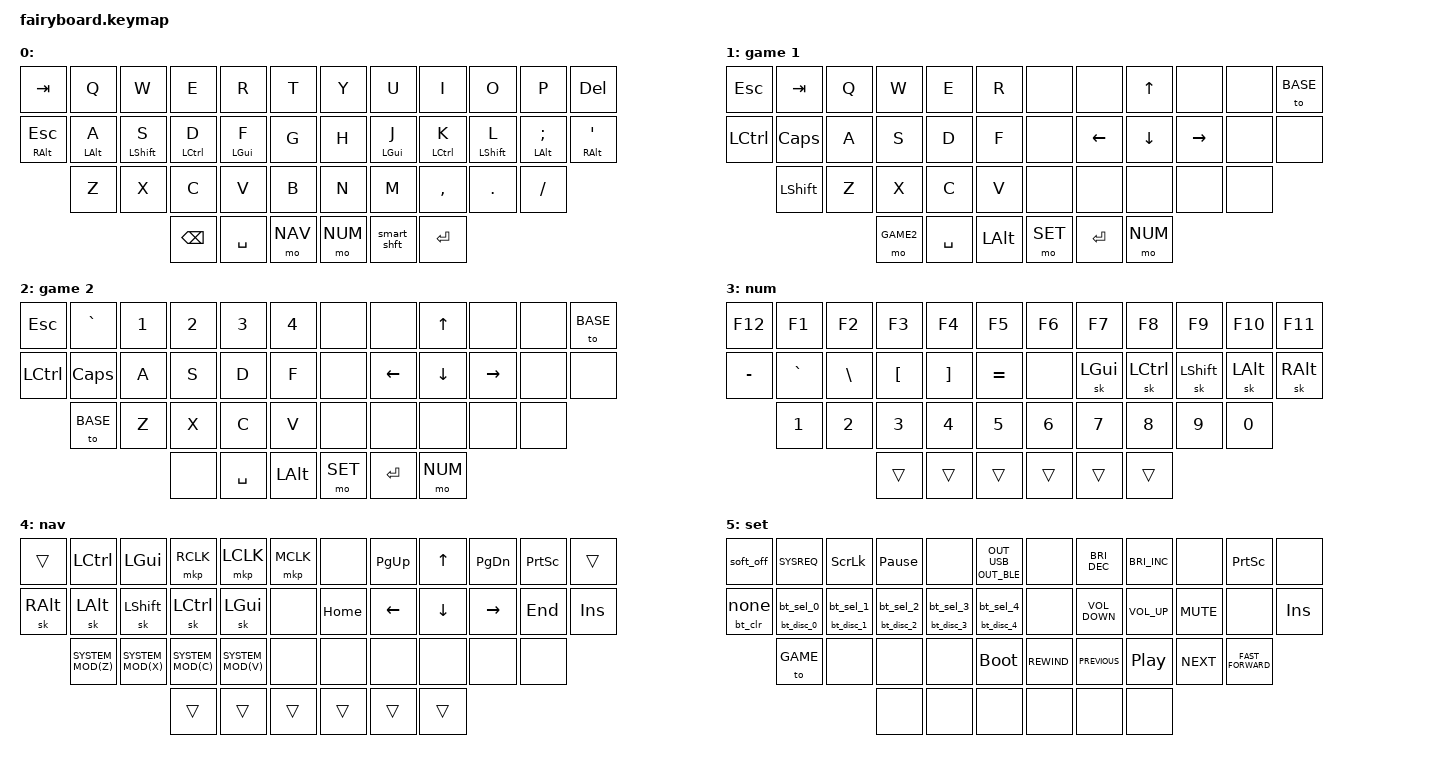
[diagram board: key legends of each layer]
// TODO: print screen, insert scroll lock and pause break move?
// TODO: zmk studio lock button
/*
 * Copyright (c) 2024 Steven Eisinger
 *
 * SPDX-License-Identifier: MIT
 */

// Required to be defined before the pointing dt-bindings import
#define ZMK_POINTING_DEFAULT_MOVE_VAL 1500
#define ZMK_POINTING_DEFAULT_SCRL_VAL 20

#include <behaviors/mouse_keys.dtsi>
#include <behaviors.dtsi>
#include <dt-bindings/zmk/bt.h>
#include <dt-bindings/zmk/keys.h>
#include <dt-bindings/zmk/pointing.h>
#include <dt-bindings/zmk/outputs.h>


//--------------------------------------------------------------------------------------------------
// Global defines

#define PHT_TAPPING_TERM_MS     280  // Positional hold tap tapping term (ms)
#define PHT_IDLE_MS             200  // Positional hold tap require idle time (ms)
#define LT_TAPPING_TERM_MS      200  // Layer tap tapping term (ms)
#define MOD_TOG_TAPPING_TERM_MS 200  // Mod tap tapping term (ms)
#define QUICK_TAP_MS            225  // Quick tap timing (ms)
#define LONG_HOLD_TERM_MS      3000  // Deliberate hold for output select and bond clear (ms)
#define SK_RELEASE_AFTER_MS     900  // Release sticky key after (ms)
#define COMBO_TERM_SLOW_MS      100  // Slow combo term for vertical combos (ms)
#define COMBO_IDLE_SLOW_MS      100  // Slow require prior idle time for vertical combos (ms)

#define NONE 0  // Null keypress


//--------------------------------------------------------------------------------------------------
// Layer definitions

#define BASE  0
#define GAME  1
#define GAME2 2
#define NUM   3
#define NAV   4
#define SET   5


//--------------------------------------------------------------------------------------------------
// Homerow mod (HRM) definitions

#define HRM_INDEX  LEFT_GUI
#define HRM_MIDDLE LEFT_CONTROL
#define HRM_RING   LEFT_SHIFT
#define HRM_PINKY  LEFT_ALT


//--------------------------------------------------------------------------------------------------
// Modifiers for the bottom row of the left side for easy 1-handed copy/cut/paste/undo
// If MAC_MODS is defined, then COMMAND will be used for these shortcuts instead of CONTROL

// #define MAC_MODS
#ifdef MAC_MODS
#define SYSTEM_MOD LG
#else
#define SYSTEM_MOD LC
#endif


//--------------------------------------------------------------------------------------------------
// Defaults reconfiguration

&sk {
    release-after-ms = <SK_RELEASE_AFTER_MS>;
    quick-release;
};

&mmv {
    acceleration-exponent = <1>;
    time-to-max-speed-ms = <500>;
    delay-ms = <0>;
};

&msc {
    acceleration-exponent = <1>;
    time-to-max-speed-ms = <40>;
    delay-ms = <0>;
};


//--------------------------------------------------------------------------------------------------

/ {
    combos {
        compatible = "zmk,combos";

        // Vertical combos
        combo_n1 {
        bindings = <&kp N1>;
            key-positions = <1 13>;
            timeout-ms = <COMBO_TERM_SLOW_MS>;
            require-prior-idle-ms = <COMBO_IDLE_SLOW_MS>;
            layers = <BASE>;
        };

        combo_n2 {
            bindings = <&kp N2>;
            key-positions = <2 14>;
            timeout-ms = <COMBO_TERM_SLOW_MS>;
            require-prior-idle-ms = <COMBO_IDLE_SLOW_MS>;
            layers = <BASE>;
        };

        combo_n3 {
            bindings = <&kp N3>;
            key-positions = <3 15>;
            timeout-ms = <COMBO_TERM_SLOW_MS>;
            require-prior-idle-ms = <COMBO_IDLE_SLOW_MS>;
            layers = <BASE>;
        };

        combo_n4 {
            bindings = <&kp N4>;
            key-positions = <4 16>;
            timeout-ms = <COMBO_TERM_SLOW_MS>;
            require-prior-idle-ms = <COMBO_IDLE_SLOW_MS>;
            layers = <BASE>;
        };

        combo_n5 {
            bindings = <&kp N5>;
            key-positions = <5 17>;
            timeout-ms = <COMBO_TERM_SLOW_MS>;
            require-prior-idle-ms = <COMBO_IDLE_SLOW_MS>;
            layers = <BASE>;
        };

        combo_n6 {
            bindings = <&kp N6>;
            key-positions = <6 18>;
            timeout-ms = <COMBO_TERM_SLOW_MS>;
            require-prior-idle-ms = <COMBO_IDLE_SLOW_MS>;
            layers = <BASE>;
        };

        combo_n7 {
            bindings = <&kp N7>;
            key-positions = <7 19>;
            timeout-ms = <COMBO_TERM_SLOW_MS>;
            require-prior-idle-ms = <COMBO_IDLE_SLOW_MS>;
            layers = <BASE>;
        };

        combo_n8 {
            bindings = <&kp N8>;
            key-positions = <8 20>;
            timeout-ms = <COMBO_TERM_SLOW_MS>;
            require-prior-idle-ms = <COMBO_IDLE_SLOW_MS>;
            layers = <BASE>;
        };

        combo_n9 {
            bindings = <&kp N9>;
            key-positions = <9 21>;
            timeout-ms = <COMBO_TERM_SLOW_MS>;
            require-prior-idle-ms = <COMBO_IDLE_SLOW_MS>;
            layers = <BASE>;
        };

        combo_n0 {
            bindings = <&kp N0>;
            key-positions = <10 22>;
            timeout-ms = <COMBO_TERM_SLOW_MS>;
            require-prior-idle-ms = <COMBO_IDLE_SLOW_MS>;
            layers = <BASE>;
        };
    };


//--------------------------------------------------------------------------------------------------

    macros {
        bt_sel_0: bt_sel_0 {
            compatible = "zmk,behavior-macro";
            #binding-cells = <0>;
            bindings = <&bt BT_SEL 0>;
        };

        bt_disc_0: bt_disc_0 {
            compatible = "zmk,behavior-macro";
            #binding-cells = <0>;
            bindings = <&bt BT_DISC 0>;
        };

        bt_sel_1: bt_sel_1 {
            compatible = "zmk,behavior-macro";
            #binding-cells = <0>;
            bindings = <&bt BT_SEL 1>;
        };

        bt_disc_1: bt_disc_1 {
            compatible = "zmk,behavior-macro";
            #binding-cells = <0>;
            bindings = <&bt BT_DISC 1>;
        };

        bt_sel_2: bt_sel_2 {
            compatible = "zmk,behavior-macro";
            #binding-cells = <0>;
            bindings = <&bt BT_SEL 2>;
        };

        bt_disc_2: bt_disc_2 {
            compatible = "zmk,behavior-macro";
            #binding-cells = <0>;
            bindings = <&bt BT_DISC 2>;
        };

        bt_sel_3: bt_sel_3 {
            compatible = "zmk,behavior-macro";
            #binding-cells = <0>;
            bindings = <&bt BT_SEL 3>;
        };

        bt_disc_3: bt_disc_3 {
            compatible = "zmk,behavior-macro";
            #binding-cells = <0>;
            bindings = <&bt BT_DISC 3>;
        };

        bt_sel_4: bt_sel_4 {
            compatible = "zmk,behavior-macro";
            #binding-cells = <0>;
            bindings = <&bt BT_SEL 4>;
        };

        bt_disc_4: bt_disc_4 {
            compatible = "zmk,behavior-macro";
            #binding-cells = <0>;
            bindings = <&bt BT_DISC 4>;
        };

        bt_clr: bt_clr {
            compatible = "zmk,behavior-macro";
            #binding-cells = <0>;
            bindings = <&bt BT_CLR>;
        };
    };


//--------------------------------------------------------------------------------------------------

    behaviors {
        pht_left: pht_left {  // Positional hold tap left
            compatible = "zmk,behavior-hold-tap";
            #binding-cells = <2>;
            bindings = <&kp>, <&kp>;
            flavor = "balanced";
            tapping-term-ms = <PHT_TAPPING_TERM_MS>;
            quick-tap-ms = <QUICK_TAP_MS>;
            require-prior-idle-ms = <PHT_IDLE_MS>;
            hold-trigger-key-positions = <6 7 8 9 10 11 18 19 20 21 22 23 29 30 31 32 33 34 35 36 37 38 39>;
            hold-trigger-on-release;
        };

        pht_right: pht_right {  // Positional hold tap right
            compatible = "zmk,behavior-hold-tap";
            #binding-cells = <2>;
            bindings = <&kp>, <&kp>;
            flavor = "balanced";
            tapping-term-ms = <PHT_TAPPING_TERM_MS>;
            quick-tap-ms = <QUICK_TAP_MS>;
            require-prior-idle-ms = <PHT_IDLE_MS>;
            hold-trigger-key-positions = <0 1 2 3 4 5 12 13 14 15 16 17 24 25 26 27 28 34 35 36 37 38 39>;
            hold-trigger-on-release;
        };

        to_hold: to_hold {  // Layer on hold
            compatible = "zmk,behavior-hold-tap";
            #binding-cells = <2>;
            bindings = <&to>, <&to>;
            tapping-term-ms = <LT_TAPPING_TERM_MS>;
        };

        smart_shft: smart_shift {  // Sticky shift on tap, caps lock on double tap, shift on hold
            compatible = "zmk,behavior-mod-morph";
            #binding-cells = <0>;
            bindings = <&sk LEFT_SHIFT>, <&kp CAPSLOCK>;
            mods = <(MOD_LSFT)>;
        };

        out_hold: out_hold {  // BLE output on hold, USB output on tap
            compatible = "zmk,behavior-hold-tap";
            #binding-cells = <2>;
            bindings = <&out>, <&out>;
            tapping-term-ms = <LONG_HOLD_TERM_MS>;
            flavor = "tap-preferred";
        };

        bt_hold_0: bt_hold_0 {  // Disconnect on hold, connect on tap
            compatible = "zmk,behavior-hold-tap";
            #binding-cells = <2>;
            bindings = <&bt_disc_0>, <&bt_sel_0>;
            tapping-term-ms = <LT_TAPPING_TERM_MS>;
        };

        bt_hold_1: bt_hold_1 {
            compatible = "zmk,behavior-hold-tap";
            #binding-cells = <2>;
            bindings = <&bt_disc_1>, <&bt_sel_1>;
            tapping-term-ms = <LT_TAPPING_TERM_MS>;
        };

        bt_hold_2: bt_hold_2 {
            compatible = "zmk,behavior-hold-tap";
            #binding-cells = <2>;
            bindings = <&bt_disc_2>, <&bt_sel_2>;
            tapping-term-ms = <LT_TAPPING_TERM_MS>;
        };

        bt_hold_3: bt_hold_3 {
            compatible = "zmk,behavior-hold-tap";
            #binding-cells = <2>;
            bindings = <&bt_disc_3>, <&bt_sel_3>;
            tapping-term-ms = <LT_TAPPING_TERM_MS>;
        };

        bt_hold_4: bt_hold_4 {
            compatible = "zmk,behavior-hold-tap";
            #binding-cells = <2>;
            bindings = <&bt_disc_4>, <&bt_sel_4>;
            tapping-term-ms = <LT_TAPPING_TERM_MS>;
        };

        bt_clr_hold: bt_clr_hold {  // Clear the active profile bond on hold, nothing on tap
            compatible = "zmk,behavior-hold-tap";
            #binding-cells = <2>;
            bindings = <&bt_clr>, <&none>;
            tapping-term-ms = <LONG_HOLD_TERM_MS>;
            flavor = "tap-preferred";
        };
    };


//--------------------------------------------------------------------------------------------------

    conditional_layers {
        compatible = "zmk,conditional-layers";

        tri_layer {  // Hold NAV and NUM for SET
            if-layers = <NAV NUM>;
            then-layer = <SET>;
        };
    };


//--------------------------------------------------------------------------------------------------

    keymap {
        compatible = "zmk,keymap";

        base_layer {
            display-name = " ";
            bindings = <
&kp TAB                     &kp Q                  &kp W                 &kp E                   &kp R                  &kp T      &kp Y     &kp U                   &kp I                    &kp O                  &kp P                      &kp DELETE
&pht_left RIGHT_ALT ESCAPE  &pht_left HRM_PINKY A  &pht_left HRM_RING S  &pht_left HRM_MIDDLE D  &pht_left HRM_INDEX F  &kp G      &kp H     &pht_right HRM_INDEX J  &pht_right HRM_MIDDLE K  &pht_right HRM_RING L  &pht_right HRM_PINKY SEMI  &pht_right RIGHT_ALT SINGLE_QUOTE
                            &kp Z                  &kp X                 &kp C                   &kp V                  &kp B      &kp N     &kp M                   &kp COMMA                &kp DOT                &kp SLASH
                                                                         &kp BACKSPACE           &kp SPACE              &mo NAV    &mo NUM   &smart_shft             &kp ENTER
            >;
        };

        game_layer {
            display-name = "game 1";
            bindings = <
&kp ESCAPE        &kp TAB         &kp Q   &kp W      &kp E      &kp R         &none    &none      &kp UP    &none      &none  &to BASE
&kp LEFT_CONTROL  &kp CAPSLOCK    &kp A   &kp S      &kp D      &kp F         &none    &kp LEFT   &kp DOWN  &kp RIGHT  &none  &none
                  &kp LEFT_SHIFT  &kp Z   &kp X      &kp C      &kp V         &none    &none      &none     &none      &none
                                          &mo GAME2  &kp SPACE  &kp LEFT_ALT  &mo SET  &kp ENTER  &mo NUM
            >;
        };

        game2_layer {
            display-name = "game 2";
            bindings = <
&kp ESCAPE        &kp GRAVE       &kp N1  &kp N2  &kp N3     &kp N4        &none    &none      &kp UP    &none      &none  &to BASE
&kp LEFT_CONTROL  &kp CAPSLOCK    &kp A   &kp S   &kp D      &kp F         &none    &kp LEFT   &kp DOWN  &kp RIGHT  &none  &none
                  &to BASE        &kp Z   &kp X   &kp C      &kp V         &none    &none      &none     &none      &none
                                          &none   &kp SPACE  &kp LEFT_ALT  &mo SET  &kp ENTER  &mo NUM
            >;
        };

        num_layer {
            display-name = "num";
            bindings = <
&kp F12    &kp F1     &kp F2         &kp F3            &kp F4             &kp F5     &kp F6   &kp F7         &kp F8          &kp F9        &kp F10        &kp F11
&kp MINUS  &kp GRAVE  &kp BACKSLASH  &kp LEFT_BRACKET  &kp RIGHT_BRACKET  &kp EQUAL  &none    &sk HRM_INDEX  &sk HRM_MIDDLE  &sk HRM_RING  &sk HRM_PINKY  &sk RIGHT_ALT
           &kp N1     &kp N2         &kp N3            &kp N4             &kp N5     &kp N6   &kp N7         &kp N8          &kp N9        &kp N0
                                     &trans            &trans             &trans     &trans   &trans         &trans
            >;
        };

        nav_layer {
            display-name = "nav";
            bindings = <
&trans         &kp HRM_MIDDLE     &kp HRM_INDEX      &mkp RCLK          &mkp LCLK          &mkp MCLK  &none     &kp PAGE_UP  &kp UP     &kp PAGE_DOWN  &kp PRINTSCREEN  &trans
&sk RIGHT_ALT  &sk HRM_PINKY      &sk HRM_RING       &sk HRM_MIDDLE     &sk HRM_INDEX      &none      &kp HOME  &kp LEFT     &kp DOWN   &kp RIGHT      &kp END          &kp INSERT
               &kp SYSTEM_MOD(Z)  &kp SYSTEM_MOD(X)  &kp SYSTEM_MOD(C)  &kp SYSTEM_MOD(V)  &none      &none     &none        &none      &none          &none
                                                     &trans             &trans             &trans     &trans    &trans       &trans
            >;
        };

        set_layer {
            display-name = "set";
            bindings = <
&soft_off         &kp SYSREQ      &kp SCROLLLOCK  &kp PAUSE_BREAK  &none           &out_hold OUT_BLE OUT_USB  &none         &kp C_BRIGHTNESS_DEC  &kp C_BRIGHTNESS_INC  &none       &kp PRINTSCREEN     &none
&bt_clr_hold 0 0  &bt_hold_0 0 0  &bt_hold_1 0 0  &bt_hold_2 0 0   &bt_hold_3 0 0  &bt_hold_4 0 0             &none         &kp C_VOLUME_DOWN     &kp C_VOLUME_UP       &kp C_MUTE  &none               &kp INSERT
                  &to GAME        &none           &none            &none           &bootloader                &kp C_REWIND  &kp C_PREVIOUS        &kp C_PLAY_PAUSE      &kp C_NEXT  &kp C_FAST_FORWARD
                                                  &none            &none           &none                      &none         &none                 &none
            >;
        };
    };
};
